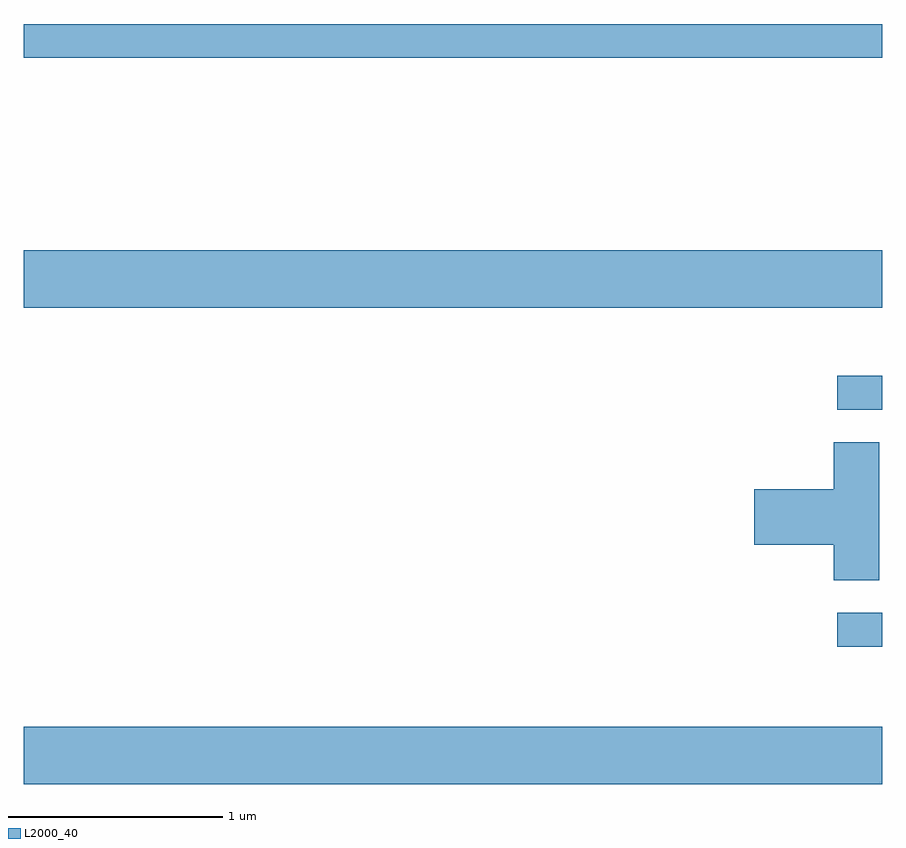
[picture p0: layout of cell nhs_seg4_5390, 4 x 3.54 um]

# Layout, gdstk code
import gdstk
lib = gdstk.Library(unit=1e-6, precision=1e-09)
def R(c, l, rs):  # rectangles x0, y0, x1, y1
    for r in rs: c.add(gdstk.rectangle(r[:2], r[2:], *l))
def P(c, l, *ps):  # polygons
    for p in ps: c.add(gdstk.Polygon(p, *l))
L2000_40 = (2000, 40)

nhs_seg4_5390 = lib.new_cell('nhs_seg4_5390')
R(nhs_seg4_5390, L2000_40, [(343.611,1290.296,347.611,1290.564), (347.403,1290.936,347.611,1291.094), (347.403,1292.041,347.611,1292.199), (343.611,1292.516,347.611,1292.784), (343.611,1293.681,347.611,1293.839)])
P(nhs_seg4_5390, L2000_40, [(347.599,1291.889),(347.386,1291.889),(347.386,1291.669),(347.016,1291.669),(347.016,1291.411),(347.386,1291.411),(347.386,1291.246),(347.599,1291.246)])

lib.write_gds('nhs_seg4_5390.gds')
